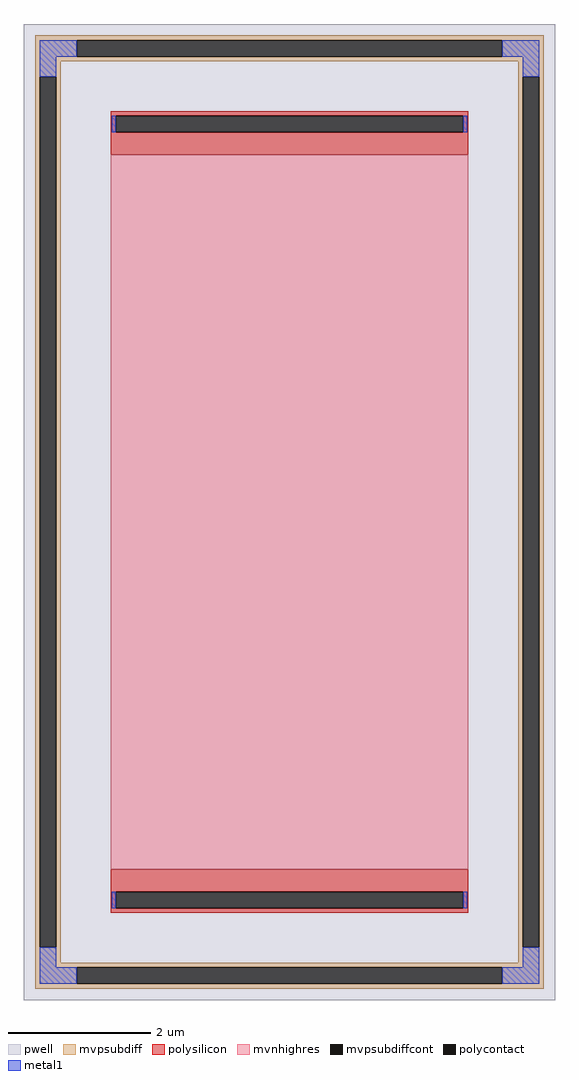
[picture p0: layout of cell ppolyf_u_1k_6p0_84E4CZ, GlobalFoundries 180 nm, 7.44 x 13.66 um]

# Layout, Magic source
magic
tech gf180mcuD
magscale 1 10
<< pwell >>
rect -744 -1366 744 1366
<< mvpsubdiff >>
rect -712 1321 712 1334
rect -712 1275 -596 1321
rect 596 1275 712 1321
rect -712 1262 712 1275
rect -712 1218 -640 1262
rect -712 -1218 -699 1218
rect -653 -1218 -640 1218
rect 640 1218 712 1262
rect -712 -1262 -640 -1218
rect 640 -1218 653 1218
rect 699 -1218 712 1218
rect 640 -1262 712 -1218
rect -712 -1275 712 -1262
rect -712 -1321 -596 -1275
rect 596 -1321 712 -1275
rect -712 -1334 712 -1321
<< mvpsubdiffcont >>
rect -596 1275 596 1321
rect -699 -1218 -653 1218
rect 653 -1218 699 1218
rect -596 -1321 596 -1275
<< polysilicon >>
rect -500 1109 500 1122
rect -500 1063 -487 1109
rect 487 1063 500 1109
rect -500 1000 500 1063
rect -500 -1063 500 -1000
rect -500 -1109 -487 -1063
rect 487 -1109 500 -1063
rect -500 -1122 500 -1109
<< polycontact >>
rect -487 1063 487 1109
rect -487 -1109 487 -1063
<< mvnhighres >>
rect -500 -1000 500 1000
<< metal1 >>
rect -699 1275 -596 1321
rect 596 1275 699 1321
rect -699 1218 -653 1275
rect 653 1218 699 1275
rect -498 1063 -487 1109
rect 487 1063 498 1109
rect -498 -1109 -487 -1063
rect 487 -1109 498 -1063
rect -699 -1275 -653 -1218
rect 653 -1275 699 -1218
rect -699 -1321 -596 -1275
rect 596 -1321 699 -1275
<< properties >>
string FIXED_BBOX -676 -1298 676 1298
string gencell ppolyf_u_1k_6p0
string library gf180mcu
string parameters w 5.0 l 10.0 m 1 nx 1 wmin 1.000 lmin 1.000 class resistor rho 1000 val 2.0k dummy 0 dw 0.0 term 0.0 sterm 0.0 caplen 0.4 snake 0 glc 1 grc 1 gtc 1 gbc 1 roverlap 0 endcov 100 full_metal 1 compatible {ppolyf_u_1k ppolyf_u_1k_6p0}
<< end >>
